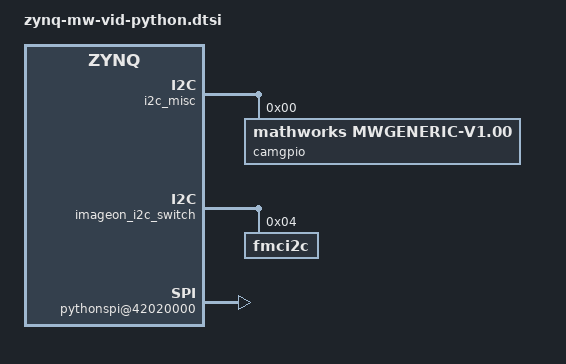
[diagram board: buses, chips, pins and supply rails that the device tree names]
#include "zynq-mw-vid-imageon.dtsi"

/{
	i2c_misc {
		camgpio {
			compatible = "mathworks,mwgeneric-v1.00";       
			reg = <0x0>;    
			mwgen,type = "nomem";            
			mwgen,devname = "camgpio";            
			i2c-controller = <&camgpio_i2c>;
		};
	};
};

&imageon_i2c_switch{
	
	fmci2c@4 {
		#address-cells = <1>;
		#size-cells = <0>;
		reg = <4>;
		
		camgpio_i2c: camgpio@24 {
			compatible = "mwnxp,mwpca9654";
			reg = <0x24>;
		};
	};
};

&fpga_axi{   	
	
    pythonspi@42020000 {
		compatible = "mathworks,mwgeneric-v1.00";
		reg = <0x42020000 0xffff>;
		mwgen,ipname = "avnet,onsemi_vita_spi";
		mwgen,devname = "pythonrxspi";
		mwgen,ipinst = "onsemi_vita_spi";
		mwgen,ipver = "3.3";
	};

	pythoncam@42030000 {
		compatible = "mathworks,mwgeneric-v1.00";
		reg = <0x42030000 0xffff>;
		mwgen,ipname = "avnet,onsemi_vita_cam";
		mwgen,devname = "pythonrxcam";
		mwgen,ipinst = "onsemi_vita_cam";
		mwgen,ipver = "3.3";
	};
	
	pythoncfa@42040000 {
		compatible = "mathworks,mwgeneric-v1.00";
		reg = <0x42040000 0xffff>;
		mwgen,ipname = "mathworks,mw_cfa";
		mwgen,devname = "pythoncfa";
		mwgen,ipinst = "vita_cfa";
		mwgen,ipver = "2.0";
	};

	gpio@43020000 {
		compatible = "mathworks,mwgeneric-v1.00";
		reg = <0x43020000 0xffff>;
		mwgen,ipname = "xlnx,axi_gpio";
		mwgen,devname = "axigpio";
		mwgen,ipinst = "axi_gpio_0";
		mwgen,ipver = "1.12.a";
	};
	
};

